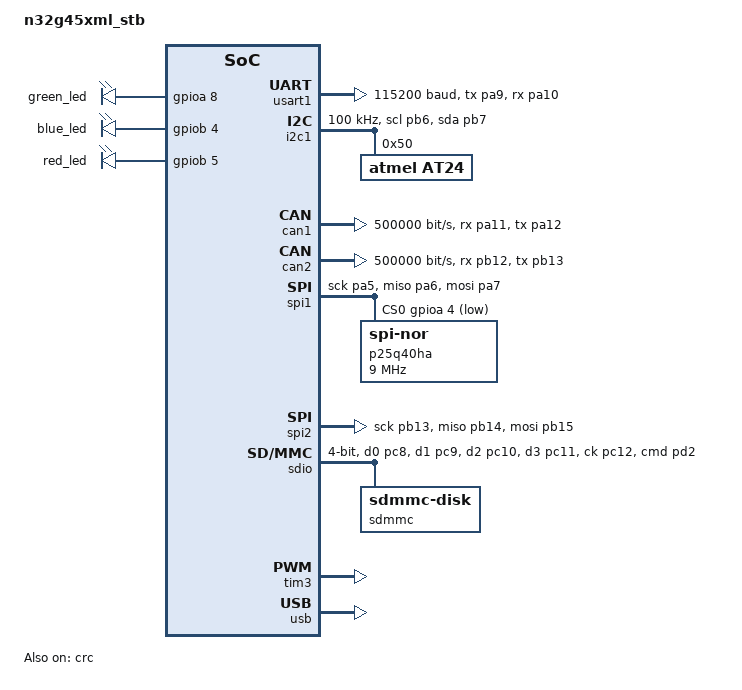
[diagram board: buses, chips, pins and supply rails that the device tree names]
/*
 * Copyright (c) 2026 Nations Technologies Inc.
 *
 * SPDX-License-Identifier: Apache-2.0
 */

/dts-v1/;
#include <nsing/n32g45x/n32g45x.dtsi>
#include "n32g45xml_stb-pinctrl.dtsi"

/ {

	model = "n32g45xml_stb";
	compatible = "nsing,n32g45xml_stb";

	chosen {
		zephyr,sram = &sram0;
		zephyr,flash = &flash0;
		zephyr,console = &usart1;
		zephyr,crc = &crc;
	};

	leds {
		compatible = "gpio-leds";
		green_led: led_1 {
			gpios = <&gpioa 8 GPIO_ACTIVE_HIGH>;
		};
		blue_led: led_2 {
			gpios = <&gpiob 4 GPIO_ACTIVE_HIGH>;
		};
		red_led: led_3 {
			gpios = <&gpiob 5 GPIO_ACTIVE_HIGH>;
		};
	};

	aliases {
		led0 = &green_led;
		led1 = &blue_led;
		led2 = &red_led;
		sdhc0 = &sdio;
		eeprom-0 = &at24;
		i2s-tx = &i2s3;
		i2s-rx = &i2s2;
	};
};

&gpioa {
	status = "okay";
};

&gpiob {
	status = "okay";
};

&gpioc {
	status = "okay";
};

&gpiod {
	status = "okay";
};

&usart1 {
	pinctrl-0 = <&usart1_tx_pa9 &usart1_rx_pa10>;
	pinctrl-names = "default";
	current-speed = <115200>;
	status = "okay";
};


&i2c1 {
	pinctrl-0 = <&i2c1_scl_pb6 &i2c1_sda_pb7>;
	pinctrl-names = "default";
	clock-frequency = <I2C_BITRATE_STANDARD>;

	scl-gpios = <&gpiob 6 (GPIO_OPEN_DRAIN | GPIO_ACTIVE_HIGH)>;
	sda-gpios = <&gpiob 7 (GPIO_OPEN_DRAIN | GPIO_ACTIVE_HIGH)>;

	at24: eeprom@50 {
		compatible = "atmel,at24";
		reg = <0x50>;
		size = <512>;
		pagesize = <16>;
		address-width = <8>;
		/* tWR is 5 ms max; the driver re-issues the transfer until the
		 * slave ACKs again, so leave margin over that.
		 */
		timeout = <20>;
		status = "okay";
	};

	status = "okay";
};

&can1 {
	pinctrl-0 = <&can1_rx_pa11 &can1_tx_pa12>;
	pinctrl-names = "default";
	bitrate = <500000>;
	status = "okay";
};

&can2 {
	pinctrl-0 = <&can2_rx_pb12 &can2_tx_pb13>;
	pinctrl-names = "default";
	bitrate = <500000>;
	status = "okay";
};

&crc {
	status = "okay";
};

&spi1 {
	pinctrl-0 = <&spi1_sck_pa5 &spi1_miso_pa6 &spi1_mosi_pa7>;
	pinctrl-names = "default";
	status = "okay";
	cs-gpios = <&gpioa 4 GPIO_ACTIVE_LOW>;

	p25q40ha: p25q40ha@0 {
		compatible = "jedec,spi-nor";
		reg = <0>;
		spi-max-frequency = <9000000>;
		/* 4 Mbit, in the bits jedec,jesd216.yaml counts capacity in. */
		size = <4194304>;
		jedec-id = [85 60 13];
	};
};

&spi2 {
	pinctrl-0 = <&spi2_sck_pb13 &spi2_miso_pb14 &spi2_mosi_pb15>;
	pinctrl-names = "default";
	status = "okay";
};

&spi3 {
	status = "disabled";
};

/*
 * Both I2S instances collide with functions this board already ships:
 * PB12/PB13 are can2, PB15 is spi2's MOSI, and PB5 is the red LED. The
 * pinctrl is wired up so an application only has to say status = "okay" and
 * release the conflicting nodes -- see
 * tests/drivers/i2s/i2s_api/boards/n32g45xml_stb.overlay.
 *
 * They stay disabled here for that reason: enabling them would take the pins
 * away from the CAN test and the SPI samples.
 */
&i2s2 {
	pinctrl-0 = <&i2s2_ws_pb12 &i2s2_ck_pb13 &i2s2_sd_pb15>;
	pinctrl-names = "default";
	status = "disabled";
};

&i2s3 {
	pinctrl-0 = <&i2s3_ws_pa15 &i2s3_ck_pb3 &i2s3_sd_pb5>;
	pinctrl-names = "default";
	/* WS is PA15 and CK is PB3, which are JTAG pins at reset. */
	nsing,jtag-port-release;
	status = "disabled";
};

/*
 * The QSPI controller is wired to the same P25Q40HA as &spi1 above, and to the
 * same four pins: PA4 is SPI1's chip select, and PA5/PA6/PA7 are its
 * SCK/MISO/MOSI. On QSPI those four are NSS/SCK/IO0/IO1. Only one of the two
 * controllers can own them, so QSPI stays disabled here and the application
 * flips both status properties -- see
 * samples/nsing/n32_qspi_flash/boards/n32g45xml_stb.overlay.
 *
 * PC4/PC5 (IO2/IO3) are otherwise unused on this board; they are WP# and HOLD#
 * on the flash, which are active low and only deassert because the module
 * pulls them up. See the pin group comment in the pinctrl file.
 *
 * The child node is written for the flash device layer route
 * (CONFIG_FLASH_MSPI_NOR), which is not what the sample above it uses. It is
 * disabled along with its parent so that a build that enables the flash layer
 * does not pick up a flash whose controller is switched off. The geometry
 * comes from the P25Q40HA datasheet rather than from SFDP; a configuration
 * that turns on CONFIG_FLASH_MSPI_NOR_USE_SFDP has to supply sfdp-bfp instead.
 *
 * The part is a 4 Mbit device (512 KiB), not the 128 Mbit one the board is
 * sold as. The JEDEC ID and the capacity come from the chip's own answer to
 * command 0x9f -- 85 60 13, Puya's manufacturer code and the capacity code for
 * 4 Mbit -- read over QSPI by samples/nsing/n32_qspi_flash, not from a
 * datasheet.
 *
 * mspi-io-mode is not optional to the flash layer even though the binding does
 * not mark it required: the driver expands it without a fallback to build the
 * default read and write configurations. Single is what every command of every
 * SPI NOR understands, so it is the only safe value to state before the quad
 * read has been seen working; a quad configuration belongs in read-io-mode
 * once samples/nsing/n32_qspi_flash has said which of the two transfer types
 * this flash accepts.
 */
&qspi {
	pinctrl-0 = <&qspi_nss_pa4 &qspi_sck_pa5 &qspi_io0_pa6 &qspi_io1_pa7
		     &qspi_io2_pc4 &qspi_io3_pc5>;
	pinctrl-names = "default";
	status = "disabled";

	p25q40ha_qspi: p25q40ha@0 {
		compatible = "jedec,nor";
		reg = <0>;
		mspi-max-frequency = <24000000>;
		mspi-io-mode = "MSPI_IO_MODE_SINGLE";
		/* Capacity in bits, as jedec,jesd216.yaml defines it. */
		size = <4194304>;
		jedec-id = [85 60 13];
		status = "disabled";
	};
};

&sdio {
	pinctrl-0 = <&sdio_d0_pc8 &sdio_d1_pc9 &sdio_d2_pc10 &sdio_d3_pc11
		     &sdio_ck_pc12 &sdio_cmd_pd2>;
	pinctrl-names = "default";
	bus-width = <4>;
	min-bus-freq = <400000>;
	max-bus-freq = <24000000>;
	status = "okay";

	sdmmc {
		compatible = "zephyr,sdmmc-disk";
		disk-name = "SD";
		status = "okay";
	};
};

/* PWM example: TIM3 CH3 (PB0) and CH4 (PB1).
 * The timer clock is 72 MHz; prescaler 71 divides it by 72 to get a
 * 1 MHz counter, so an application can request 1 kHz PWM with a period
 * of 1000 cycles. Use pwm_set_cycles() with channel 2 (PB0) / 3 (PB1). */
&tim3 {
	prescaler = <71>;
	status = "okay";
	pwm3: pwm {
		pinctrl-0 = <&tim3_ch3_pb0 &tim3_ch4_pb1>;
		pinctrl-names = "default";
		status = "okay";
	};
};

&usb {
	status = "okay";
};

zephyr_udc0: &usb {
};
